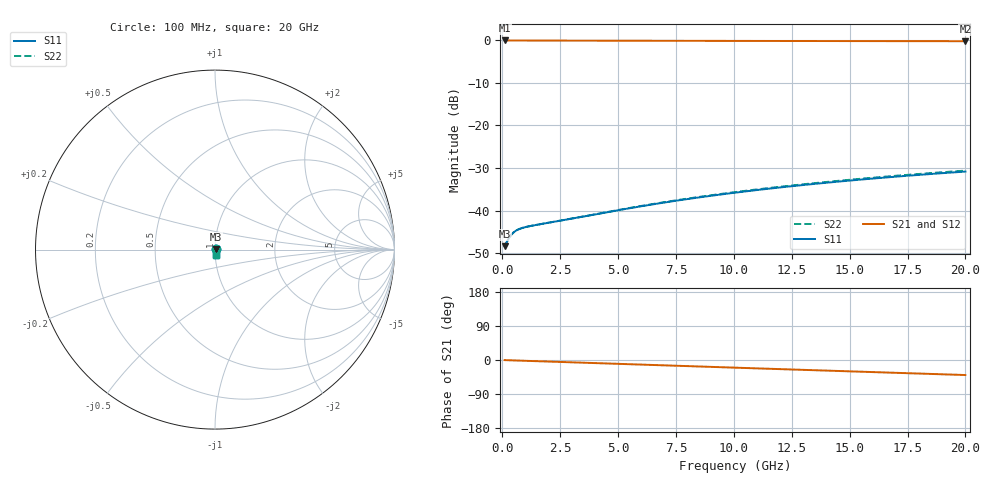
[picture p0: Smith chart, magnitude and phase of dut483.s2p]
! Touchstone file exported from HFSS 2026.1.0
!  File:  C:/ffzhzh/LocalFiles/Ansys_Project_Files/temp_train_BSMRDL_483_1783013883_46388.aedt
!  Generated:  01:39:15 AM Jul  3, 2026
!  Design:  BSMRDL
!  Project:  temp_train_BSMRDL_483_1783013883_46388
! Variables:
!  h_bsmrdl = 3.7um
!  h_ox = 20um
!  h_rdl = 5um
!  h_sub = 80um
!  h_tmrdl = 5um
!  h_tsv = 80um
!  h_via = 3um
!  l_bsmrdl = 712.94um
!  l_sub = 1112.94um
!  l_tmrdl = 200um
!  m_sub = 200um
!  pitch = 23.16um
!  r_tsv = 6um
!  s_tmrdl = 10um
!  w_bsmrdl = 19.49um
!  w_sub = 500um
!  w_tmrdl = 12um
!  x_tsv_center1 = 206um
!  x_tsv_center2 = 938.43um
!  x_tsv_center3 = 1150.43um
!  x_tsv_center4 = 1882.86um
!  x_tsv_center5 = 2094.86um
!  x_tsv_center6 = 2827.29um
# GHz S MA R 50.000000
! Terminal data exported
! Port[1] = BSM_RDL1_1_T1
! Port[2] = BSM_RDL1_1_T2
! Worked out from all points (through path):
!   200 points, 100 MHz to 20 GHz, reference 50 ohm
!   highest |S21| = -0.03 dB at 100 MHz (marker M1); lowest = -0.2 dB at 20 GHz (marker M2)
!   group delay of S21, straight-line fit = 5.49 ps
!   lowest |S11| = -48.4 dB at 100 MHz (marker M3), VSWR 1.01, Z = 50.4 + j0.0682 ohm
!   |S11| at or under -10 dB: start of sweep to end of sweep
!   |S22| runs from -48.4 to -30.6 dB; largest |S21 - S12| = 2.1e-15
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0.1  0.00382 10.2  0.9962 -0.2  0.9962 -0.2  0.00382 10.2
! Gamma 0 0 0 0
! Port Impedance 50 0 50 0
0.2  0.004311 15.8  0.9959 -0.5  0.9959 -0.5  0.004311 15.7
0.3  0.004827 17.3  0.9954 -0.7  0.9954 -0.7  0.004827 17.3
0.4  0.005254 16.9  0.995 -0.9  0.995 -0.9  0.005255 16.9
0.5  0.005582 15.8  0.9947 -1.1  0.9947 -1.1  0.005583 15.8
0.6  0.00583 14.6  0.9944 -1.3  0.9944 -1.3  0.005831 14.6
0.7  0.00602 13.4  0.9942 -1.5  0.9942 -1.5  0.006021 13.4
0.8  0.006171 12.3  0.994 -1.7  0.994 -1.7  0.006172 12.3
1  0.006401 10.6  0.9937 -2.1  0.9937 -2.1  0.006403 10.6
1.3  0.006659 8.6  0.9935 -2.7  0.9935 -2.7  0.006663 8.6
2.5  0.007582 3.6  0.9925 -5.2  0.9925 -5.2  0.007597 3.6
3.5  0.008495 -0.6  0.9915 -7.2  0.9915 -7.2  0.008527 -0.6
5.3  0.01043 -10.0  0.9895 -10.8  0.9895 -10.8  0.0105 -10.0
6.8  0.0122 -18.8  0.9877 -13.8  0.9877 -13.8  0.01232 -18.7
8.4  0.01416 -28.3  0.9858 -17.0  0.9858 -17.0  0.01435 -28.0
10.1  0.0163 -37.8  0.9839 -20.4  0.9839 -20.4  0.01655 -37.4
11.7  0.01833 -46.2  0.9824 -23.5  0.9824 -23.5  0.01866 -45.7
13.4  0.02049 -54.5  0.9808 -26.8  0.9808 -26.8  0.02091 -53.7
15  0.02252 -61.7  0.9795 -29.9  0.9795 -29.9  0.02302 -60.7
16.7  0.02467 -68.7  0.9781 -33.3  0.9781 -33.3  0.02525 -67.6
18.3  0.02666 -75.0  0.9769 -36.4  0.9769 -36.4  0.02732 -73.6
20  0.02872 -81.2  0.9757 -39.7  0.9757 -39.7  0.02948 -79.6
